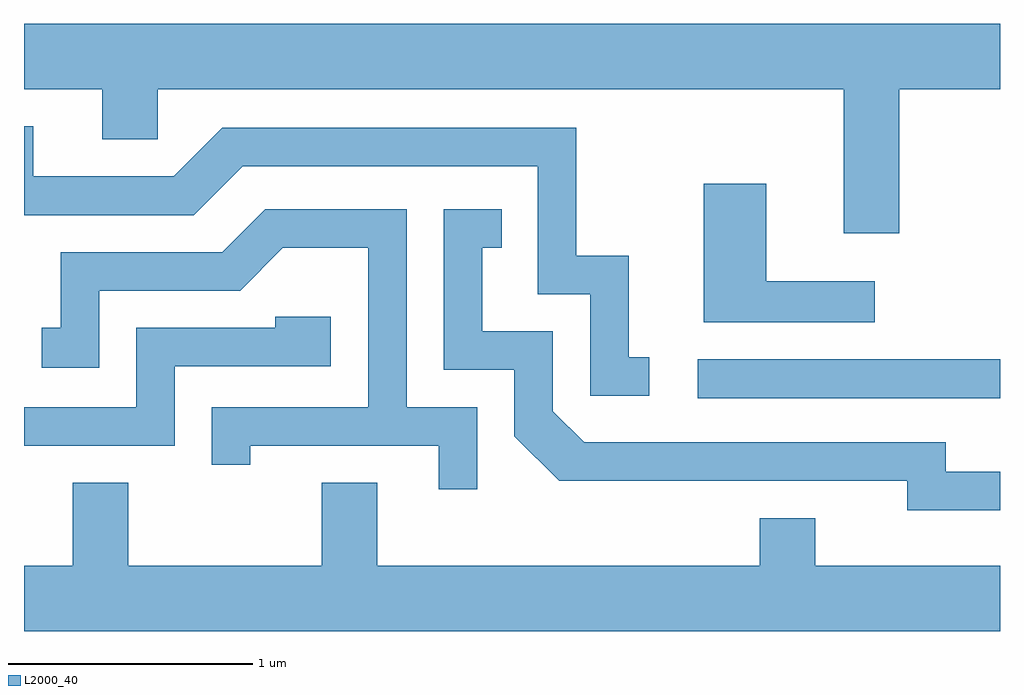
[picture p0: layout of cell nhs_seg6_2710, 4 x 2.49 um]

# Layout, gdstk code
import gdstk
lib = gdstk.Library(unit=1e-6, precision=1e-09)
def R(c, l, rs):  # rectangles x0, y0, x1, y1
    for r in rs: c.add(gdstk.rectangle(r[:2], r[2:], *l))
def P(c, l, *ps):  # polygons
    for p in ps: c.add(gdstk.Polygon(p, *l))
L2000_40 = (2000, 40)

nhs_seg6_2710 = lib.new_cell('nhs_seg6_2710')
R(nhs_seg6_2710, L2000_40, [(270.373,1559.871,271.611,1560.029)])
P(nhs_seg6_2710, L2000_40, [(267.611,1561.136),(267.931,1561.136),(267.931,1560.931),(268.159,1560.931),(268.159,1561.136),(270.971,1561.136),(270.971,1560.546),(271.199,1560.546),(271.199,1561.136),(271.611,1561.136),(271.611,1561.404),(267.611,1561.404)],
  [(270.173,1560.039),(270.089,1560.039),(270.089,1560.454),(269.874,1560.454),(269.874,1560.979),(268.424,1560.979),(268.224,1560.779),(267.649,1560.779),(267.649,1560.984),(267.611,1560.984),(267.611,1560.621),(268.307,1560.621),(268.507,1560.821),(269.716,1560.821),(269.716,1560.296),(269.931,1560.296),(269.931,1559.881),(270.173,1559.881)],
  [(271.098,1560.349),(270.654,1560.349),(270.654,1560.749),(270.396,1560.749),(270.396,1560.181),(271.098,1560.181)],
  [(271.611,1559.569),(271.389,1559.569),(271.389,1559.689),(269.907,1559.689),(269.779,1559.817),(269.779,1560.144),(269.489,1560.144),(269.489,1560.486),(269.568,1560.486),(269.568,1560.644),(269.331,1560.644),(269.331,1559.986),(269.621,1559.986),(269.621,1559.714),(269.804,1559.531),(271.231,1559.531),(271.231,1559.411),(271.611,1559.411)],
  [(269.469,1559.834),(269.179,1559.834),(269.179,1560.644),(268.599,1560.644),(268.424,1560.469),(267.761,1560.469),(267.761,1560.159),(267.683,1560.159),(267.683,1559.996),(267.919,1559.996),(267.919,1560.311),(268.497,1560.311),(268.672,1560.486),(269.021,1560.486),(269.021,1559.834),(268.381,1559.834),(268.381,1559.598),(268.539,1559.598),(268.539,1559.676),(269.311,1559.676),(269.311,1559.498),(269.469,1559.498)],
  [(268.229,1560.001),(268.869,1560.001),(268.869,1560.204),(268.641,1560.204),(268.641,1560.159),(268.071,1560.159),(268.071,1559.834),(267.611,1559.834),(267.611,1559.676),(268.229,1559.676)],
  [(271.611,1559.184),(270.854,1559.184),(270.854,1559.379),(270.626,1559.379),(270.626,1559.184),(269.059,1559.184),(269.059,1559.524),(268.831,1559.524),(268.831,1559.184),(268.039,1559.184),(268.039,1559.524),(267.811,1559.524),(267.811,1559.184),(267.611,1559.184),(267.611,1558.916),(271.611,1558.916)])

lib.write_gds('nhs_seg6_2710.gds')
